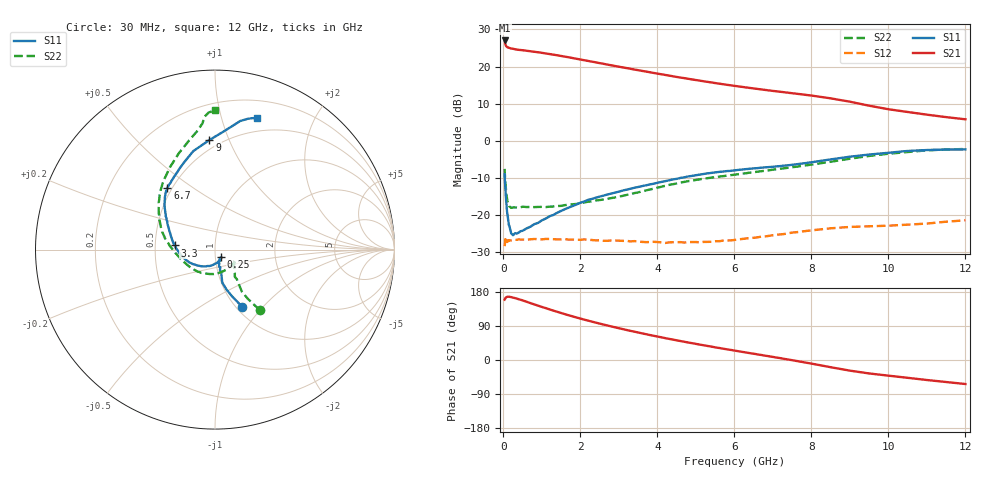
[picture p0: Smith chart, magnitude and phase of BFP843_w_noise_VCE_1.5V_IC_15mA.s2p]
! Infineon Technologies  Discrete & RF Semiconductors
! BFP843
! VCE =  1.5 V,  IC =  15 mA
! Common Emitter S-Parameters:  Aug 2013
# GHz  S  MA  R  50
!  f  S11  S21  S12  S22
! GHz  MAG  ANG  MAG  ANG  MAG  ANG  MAG  ANG
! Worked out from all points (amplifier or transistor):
!   103 points, 30 MHz to 12 GHz, reference 50 ohm
!   highest |S21| = 27.0 dB at 30 MHz (marker M1)
!   |S21| within 3 dB of that: start of sweep to 766.6 MHz
!   unconditionally stable (mu >= 1): 128.9 MHz to 10.92 GHz
!   at 400 MHz: K = 1.02, MAG = 24.7 dB, |S12| = -26.5 dB
!   at 3.7 GHz: K = 1.38, MAG = 19.3 dB, |S12| = -27.3 dB
!   at 12 GHz: K = 0.87, MSG = 13.6 dB, |S12| = -21.4 dB
!   lowest NFmin = 0.97 dB at 450 MHz
!   S11 on the Smith chart (normalised r, x): 30 MHz: 1.07, -0.78; 250 MHz: 1.06, -0.09; 3.3 GHz: 0.63, +0.03; 6.7 GHz: 0.47, +0.40; 9 GHz: 0.44, +0.85; 12 GHz: 0.37, +1.30
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0.03  0.3551 -64.5  22.49 159.3  0.0381 27.6  0.4188 -53.5
0.04  0.2726 -70.3  20.8 160.9  0.0414 22.6  0.329 -56.3
0.05  0.2318 -73.9  19.92 163.6  0.0474 12.4  0.2781 -57.4
0.07  0.1546 -76.3  18.81 165.5  0.0418 10.3  0.2049 -53.6
0.1  0.1029 -73.2  18.25 166.8  0.0434 9.5  0.157 -47.5
0.13  0.0816 -72.7  18.05 167.2  0.0454 10.2  0.1369 -41.3
0.25  0.0535 -53.5  17.38 164.6  0.0458 4.8  0.1266 -27.4
0.8  0.0753 -81.8  15.84 146.8  0.0476 0.7  0.1279 -48.2
1.2  0.0965 -108.2  14.75 133.4  0.0476 -0.9  0.1298 -71.7
1.6  0.1202 -129.4  13.61 120.9  0.0475 -1.5  0.1363 -93.1
2.1  0.1525 -149.9  12.18 106.5  0.047 -3.6  0.1476 -117.1
2.6  0.1828 -166.7  10.9 93.5  0.045 -3.1  0.162 -137.3
3.3  0.2265 174.1  9.337 76.9  0.0441 -4.1  0.1913 -161.6
4.1  0.2792 156.5  7.878 59.9  0.0429 -3.1  0.2404 178.3
5  0.3441 143.5  6.588 42.5  0.0433 1.0  0.2975 164.3
6.1  0.4053 133.5  5.416 23.2  0.0471 6.3  0.3554 150.7
6.7  0.435 127.5  4.922 13.2  0.0512 7.3  0.3895 143.7
7.7  0.4904 114.1  4.257 -4.1  0.0594 6.0  0.4553 131.1
8.5  0.5623 102.4  3.734 -19.0  0.0663 1.4  0.5224 118.8
9  0.6114 92.9  3.365 -28.1  0.0692 -2.1  0.574 110.5
10.5  0.7302 78.9  2.447 -47.0  0.0743 -8.6  0.7063 95.7
12  0.7668 72.4  1.95 -63.4  0.085 -14.7  0.7768 90.2
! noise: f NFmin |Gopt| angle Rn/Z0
0.45  0.97  0.07  -172  0.03
0.9  0.97  0.08  -164  0.06
1.5  0.99  0.08  -156  0.12
1.9  1.01  0.08  -146  0.18
2.4  1.04  0.07  -134  0.26
3.5  1.09  0.07  -115  0.29
5.5  1.2  0.21  -114  0.36
10  1.8  0.51  -63  0.48
